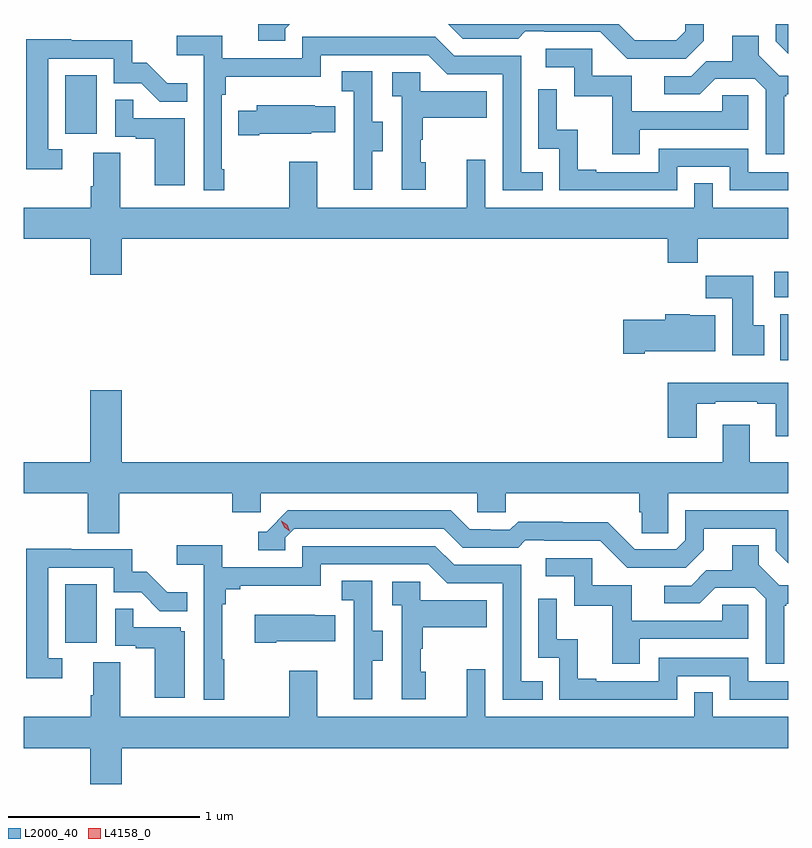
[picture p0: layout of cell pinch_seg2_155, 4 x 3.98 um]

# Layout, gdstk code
import gdstk
lib = gdstk.Library(unit=1e-6, precision=1e-09)
def R(c, l, rs):  # rectangles x0, y0, x1, y1
    for r in rs: c.add(gdstk.rectangle(r[:2], r[2:], *l))
def P(c, l, *ps):  # polygons
    for p in ps: c.add(gdstk.Polygon(p, *l))
L2000_40 = (2000, 40)
L4158_0 = (4158, 0)

pinch_seg2_155 = lib.new_cell('pinch_seg2_155')
R(pinch_seg2_155, L2000_40, [(1141.898,628.206,1142.062,628.513), (1145.639,629.684,1145.681,629.926), (1145.607,630.014,1145.681,630.148), (1141.898,630.87,1142.062,631.177)])
P(pinch_seg2_155, L2000_40, [(1145.681,631.444),(1145.616,631.444),(1145.616,631.353),(1145.681,631.288)],
  [(1145.239,631.357),(1145.239,631.444),(1145.142,631.444),(1145.142,631.407),(1145.094,631.359),(1144.878,631.359),(1144.793,631.444),(1143.902,631.444),(1143.978,631.368),(1144.267,631.368),(1144.306,631.407),(1144.405,631.407),(1144.405,631.404),(1144.698,631.404),(1144.839,631.263),(1145.145,631.263)],
  [(1143.048,631.419),(1143.073,631.444),(1142.909,631.444),(1142.909,631.356),(1143.048,631.356)],
  [(1142.731,630.685),(1142.718,630.685),(1142.718,631.073),(1142.738,631.073),(1142.738,631.169),(1143.234,631.169),(1143.234,631.281),(1143.798,631.281),(1143.897,631.182),(1144.188,631.182),(1144.188,630.573),(1144.397,630.573),(1144.397,630.669),(1144.284,630.669),(1144.284,631.278),(1143.934,631.278),(1143.835,631.377),(1143.138,631.377),(1143.138,631.266),(1142.72,631.266),(1142.72,631.382),(1142.481,631.382),(1142.481,631.28),(1142.622,631.28),(1142.622,630.573),(1142.731,630.573)],
  [(1145.659,631.065),(1145.671,631.065),(1145.671,631.076),(1145.681,631.076),(1145.681,631.173),(1145.634,631.173),(1145.527,631.28),(1145.527,631.382),(1145.387,631.382),(1145.387,631.25),(1145.252,631.25),(1145.172,631.17),(1145.031,631.17),(1145.031,631.077),(1145.218,631.077),(1145.299,631.158),(1145.505,631.158),(1145.562,631.101),(1145.562,630.762),(1145.659,630.762)],
  [(1141.882,630.789),(1141.809,630.789),(1141.809,631.263),(1142.151,631.263),(1142.151,631.134),(1142.295,631.134),(1142.393,631.036),(1142.537,631.036),(1142.537,631.135),(1142.433,631.135),(1142.326,631.242),(1142.25,631.242),(1142.25,631.359),(1141.931,631.359),(1141.931,631.364),(1141.693,631.364),(1141.693,630.684),(1141.882,630.684)],
  [(1144.903,630.891),(1145.472,630.891),(1145.472,631.071),(1145.335,631.071),(1145.335,630.987),(1144.861,630.987),(1144.861,631.173),(1144.656,631.173),(1144.656,631.314),(1144.413,631.314),(1144.413,631.218),(1144.56,631.218),(1144.56,631.065),(1144.759,631.065),(1144.759,630.762),(1144.903,630.762)],
  [(1143.505,630.778),(1143.559,630.778),(1143.559,630.933),(1143.504,630.933),(1143.504,631.196),(1143.345,631.196),(1143.345,631.093),(1143.408,631.093),(1143.408,630.789),(1143.407,630.789),(1143.407,630.576),(1143.505,630.576)],
  [(1143.784,630.72),(1143.759,630.72),(1143.759,630.839),(1143.769,630.839),(1143.769,630.953),(1144.103,630.953),(1144.103,631.093),(1143.756,631.093),(1143.756,631.191),(1143.609,631.191),(1143.609,631.067),(1143.66,631.067),(1143.66,630.576),(1143.784,630.576)],
  [(1145.1,630.696),(1145.376,630.696),(1145.376,630.573),(1145.681,630.573),(1145.681,630.669),(1145.472,630.669),(1145.472,630.792),(1145.004,630.792),(1145.004,630.669),(1144.675,630.669),(1144.675,630.682),(1144.58,630.682),(1144.58,630.89),(1144.47,630.89),(1144.47,631.102),(1144.374,631.102),(1144.374,630.792),(1144.482,630.792),(1144.482,630.573),(1145.1,630.573)],
  [(1142.524,630.951),(1142.255,630.951),(1142.255,631.049),(1142.16,631.049),(1142.16,630.855),(1142.267,630.855),(1142.267,630.843),(1142.366,630.843),(1142.366,630.6),(1142.524,630.6)],
  [(1142.914,630.869),(1143.186,630.869),(1143.186,630.878),(1143.311,630.878),(1143.311,631.015),(1143.203,631.015),(1143.203,631.018),(1142.901,631.018),(1142.901,630.991),(1142.803,630.991),(1142.803,630.862),(1142.914,630.862)],
  [(1142.194,630.32),(1145.051,630.32),(1145.051,630.196),(1145.207,630.196),(1145.207,630.32),(1145.681,630.32),(1145.681,630.484),(1145.286,630.484),(1145.286,630.611),(1145.19,630.611),(1145.19,630.484),(1144.095,630.484),(1144.095,630.733),(1143.998,630.733),(1143.998,630.484),(1143.217,630.484),(1143.217,630.724),(1143.07,630.724),(1143.07,630.484),(1142.185,630.484),(1142.185,630.77),(1142.045,630.77),(1142.045,630.596),(1142.033,630.596),(1142.033,630.484),(1141.681,630.484),(1141.681,630.32),(1142.03,630.32),(1142.03,630.132),(1142.194,630.132)],
  [(1145.554,629.868),(1145.497,629.868),(1145.497,630.127),(1145.248,630.127),(1145.248,630.008),(1145.387,630.008),(1145.387,629.712),(1145.554,629.712)],
  [(1144.93,629.732),(1145.299,629.732),(1145.299,629.92),(1145.166,629.92),(1145.166,629.926),(1145.036,629.926),(1145.036,629.898),(1144.818,629.898),(1144.818,629.72),(1144.93,629.72)],
  [(1145.203,629.457),(1145.299,629.457),(1145.299,629.469),(1145.519,629.469),(1145.519,629.457),(1145.615,629.457),(1145.615,629.288),(1145.681,629.288),(1145.681,629.566),(1145.051,629.566),(1145.051,629.28),(1145.203,629.28)],
  [(1142.18,628.988),(1142.771,628.988),(1142.771,628.89),(1142.922,628.89),(1142.922,628.988),(1144.053,628.988),(1144.053,628.89),(1144.203,628.89),(1144.203,628.988),(1144.901,628.988),(1144.901,628.89),(1144.915,628.89),(1144.915,628.78),(1145.052,628.78),(1145.052,628.988),(1145.681,628.988),(1145.681,629.152),(1145.479,629.152),(1145.479,629.347),(1145.339,629.347),(1145.339,629.152),(1142.194,629.152),(1142.194,629.527),(1142.03,629.527),(1142.03,629.152),(1141.681,629.152),(1141.681,628.988),(1142.015,628.988),(1142.015,628.78),(1142.18,628.78)],
  [(1145.239,628.693),(1145.239,628.803),(1145.616,628.803),(1145.616,628.689),(1145.681,628.624),(1145.681,628.899),(1145.142,628.899),(1145.142,628.743),(1145.094,628.695),(1144.878,628.695),(1144.736,628.837),(1144.5,628.837),(1144.5,628.84),(1144.267,628.84),(1144.225,628.797),(1144.122,628.797),(1144.122,628.8),(1144.015,628.8),(1143.916,628.899),(1143.063,628.899),(1142.952,628.788),(1142.909,628.788),(1142.909,628.692),(1143.048,628.692),(1143.048,628.755),(1143.096,628.803),(1143.879,628.803),(1143.978,628.704),(1144.267,628.704),(1144.306,628.743),(1144.405,628.743),(1144.405,628.74),(1144.698,628.74),(1144.839,628.599),(1145.145,628.599)],
  [(1142.731,628.121),(1142.719,628.121),(1142.719,628.409),(1142.738,628.409),(1142.738,628.486),(1142.815,628.486),(1142.815,628.505),(1143.234,628.505),(1143.234,628.617),(1143.798,628.617),(1143.897,628.518),(1144.188,628.518),(1144.188,627.909),(1144.397,627.909),(1144.397,628.005),(1144.284,628.005),(1144.284,628.614),(1143.934,628.614),(1143.835,628.713),(1143.138,628.713),(1143.138,628.602),(1142.72,628.602),(1142.72,628.718),(1142.481,628.718),(1142.481,628.616),(1142.622,628.616),(1142.622,627.909),(1142.731,627.909)],
  [(1145.659,628.401),(1145.671,628.401),(1145.671,628.412),(1145.681,628.412),(1145.681,628.509),(1145.634,628.509),(1145.527,628.616),(1145.527,628.718),(1145.387,628.718),(1145.387,628.586),(1145.252,628.586),(1145.172,628.506),(1145.031,628.506),(1145.031,628.413),(1145.218,628.413),(1145.299,628.494),(1145.505,628.494),(1145.562,628.437),(1145.562,628.098),(1145.659,628.098)],
  [(1141.882,628.125),(1141.809,628.125),(1141.809,628.599),(1142.151,628.599),(1142.151,628.47),(1142.295,628.47),(1142.393,628.372),(1142.537,628.372),(1142.537,628.471),(1142.433,628.471),(1142.326,628.578),(1142.25,628.578),(1142.25,628.695),(1141.931,628.695),(1141.931,628.7),(1141.693,628.7),(1141.693,628.02),(1141.882,628.02)],
  [(1144.903,628.227),(1145.472,628.227),(1145.472,628.407),(1145.335,628.407),(1145.335,628.323),(1144.861,628.323),(1144.861,628.509),(1144.656,628.509),(1144.656,628.65),(1144.413,628.65),(1144.413,628.554),(1144.56,628.554),(1144.56,628.401),(1144.759,628.401),(1144.759,628.098),(1144.903,628.098)],
  [(1143.505,628.114),(1143.559,628.114),(1143.559,628.269),(1143.504,628.269),(1143.504,628.532),(1143.345,628.532),(1143.345,628.429),(1143.408,628.429),(1143.408,628.125),(1143.407,628.125),(1143.407,627.912),(1143.505,627.912)],
  [(1143.784,628.056),(1143.759,628.056),(1143.759,628.175),(1143.769,628.175),(1143.769,628.289),(1144.103,628.289),(1144.103,628.429),(1143.756,628.429),(1143.756,628.527),(1143.609,628.527),(1143.609,628.403),(1143.66,628.403),(1143.66,627.912),(1143.784,627.912)],
  [(1145.1,628.032),(1145.376,628.032),(1145.376,627.909),(1145.681,627.909),(1145.681,628.005),(1145.472,628.005),(1145.472,628.128),(1145.004,628.128),(1145.004,628.005),(1144.675,628.005),(1144.675,628.018),(1144.58,628.018),(1144.58,628.226),(1144.47,628.226),(1144.47,628.438),(1144.374,628.438),(1144.374,628.128),(1144.482,628.128),(1144.482,627.909),(1145.1,627.909)],
  [(1142.524,628.266),(1142.502,628.266),(1142.502,628.287),(1142.255,628.287),(1142.255,628.385),(1142.16,628.385),(1142.16,628.191),(1142.267,628.191),(1142.267,628.179),(1142.366,628.179),(1142.366,627.918),(1142.524,627.918)],
  [(1143.001,628.214),(1143.311,628.214),(1143.311,628.351),(1143.203,628.351),(1143.203,628.354),(1142.889,628.354),(1142.889,628.207),(1143.001,628.207)],
  [(1142.194,627.656),(1145.681,627.656),(1145.681,627.82),(1145.286,627.82),(1145.286,627.947),(1145.19,627.947),(1145.19,627.82),(1144.095,627.82),(1144.095,628.069),(1143.998,628.069),(1143.998,627.82),(1143.217,627.82),(1143.217,628.06),(1143.07,628.06),(1143.07,627.82),(1142.185,627.82),(1142.185,628.106),(1142.045,628.106),(1142.045,627.932),(1142.033,627.932),(1142.033,627.82),(1141.681,627.82),(1141.681,627.656),(1142.03,627.656),(1142.03,627.468),(1142.194,627.468)])
P(pinch_seg2_155, L4158_0, [(1143.074,628.791),(1143.044,628.811),(1143.028,628.843),(1143.028,628.844),(1143.028,628.844),(1143.059,628.824),(1143.074,628.791),(1143.074,628.791)])

lib.write_gds('pinch_seg2_155.gds')
